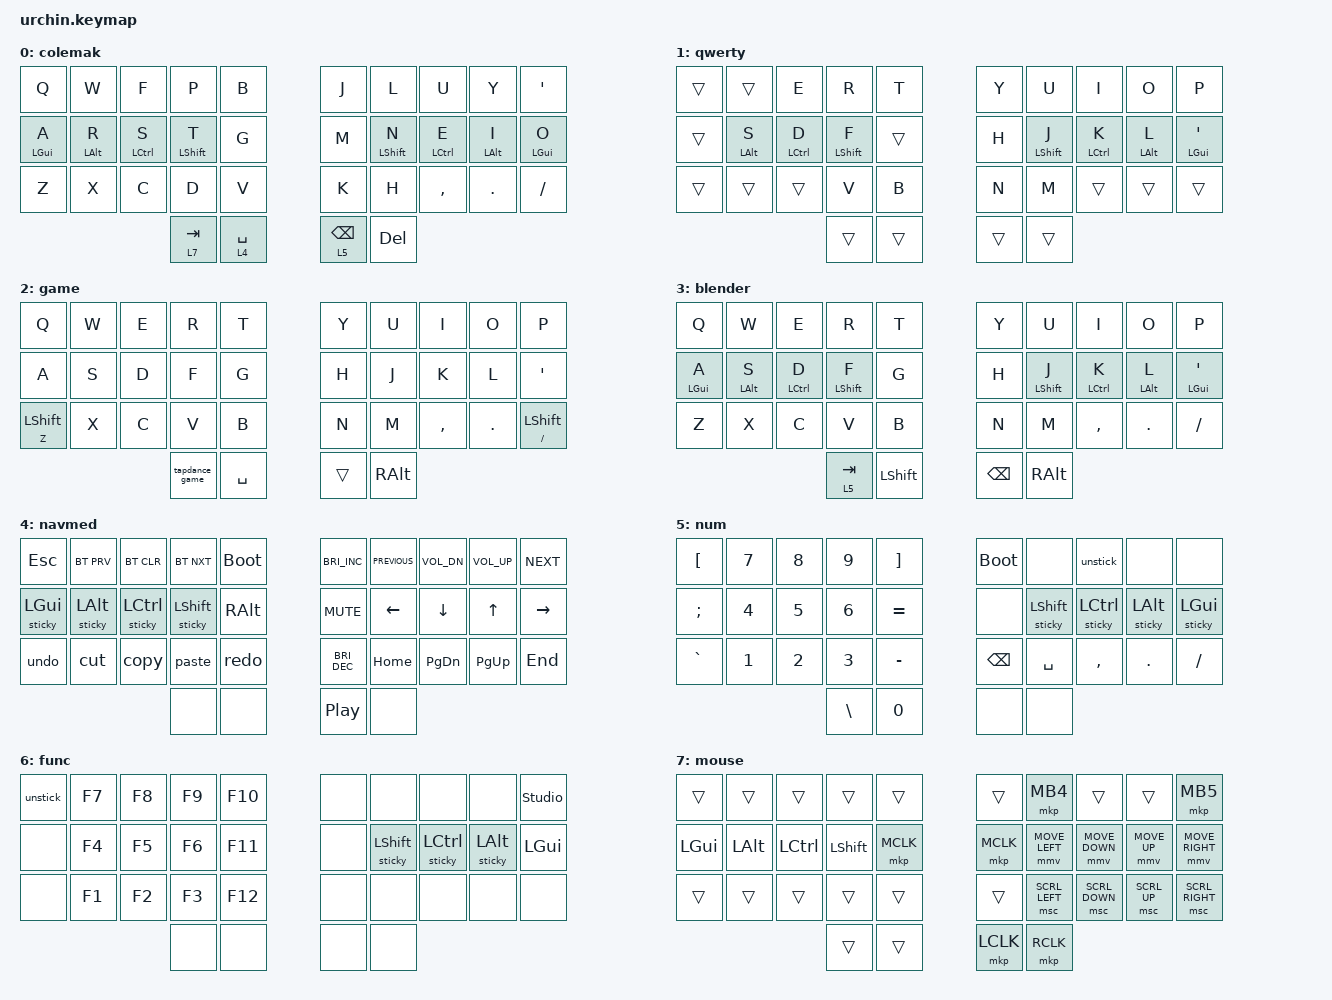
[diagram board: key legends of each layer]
/*
 * Copyright (c) 2020 duckyb
 *
 * SPDX-License-Identifier: MIT
 */

#include <behaviors.dtsi>
#include <dt-bindings/zmk/bt.h>
#include <dt-bindings/zmk/keys.h>
#include <dt-bindings/zmk/pointing.h>
#include "keymap_italian.h"

// Layer definitions

#define BASE 0
#define SYM 1
#define EXT 2
#define FNC 3
#define SYM2 4
#define ACCENT 5
#define SETTINGS 6

// -----------------

&sk {
    // don't release mods on other mods presses

    ignore-modifiers;
};

&sl { ignore-modifiers; };

/ {
    behaviors {
        // Enables holding the first mod-tap key
        // by performing a tap-release-hold sequence.
        // To use it: "&qt KEYCODE1 KEYCODE2"

        qt: quick_tap {
            compatible = "zmk,behavior-hold-tap";
            label = "QUICK_TAP";
            #binding-cells = <2>;
            flavor = "hold-preferred";
            tapping-term-ms = <200>;
            quick-tap-ms = <200>;
            bindings = <&kp>, <&kp>;
        };

        ko: ko {
            compatible = "zmk,behavior-tap-dance";
            label = "KO";
            #binding-cells = <0>;
            bindings = <&ko_win>, <&ko_mac>;
        };

        en: en {
            compatible = "zmk,behavior-tap-dance";
            label = "EN";
            #binding-cells = <0>;
            bindings = <&en_win>, <&en_mac>;
        };

        wincap: wincap {
            compatible = "zmk,behavior-tap-dance";
            label = "WINCAP";
            #binding-cells = <0>;
            bindings = <&kp LG(LS(S))>, <&kp LA(LS(LC(S)))>;
        };

        tapdance_game: tapdance_game {
            compatible = "zmk,behavior-tap-dance";
            label = "TAPDANCE_GAME";
            #binding-cells = <0>;
            bindings = <&kp LCTRL>, <&kp LEFT_ALT>;
        };
    };

    hrmLeft: hrmLeft {
        compatible = "zmk,behavior-hold-tap";
        label = "HRMLEFT";
        bindings = <&kp>, <&kp>;

        #binding-cells = <2>;
        tapping-term-ms = <250>;
        flavor = "balanced";
        quick-tap-ms = <175>;
        hold-trigger-on-release;
        hold-trigger-key-positions = <34 35 36 37 38 46 47 48 49 50 51 60 61 62 63 59 5 9 5 6 7 15 16 17 25 26 27 8 9 18 19 28 29 32 33>;
        require-prior-idle-ms = <100>;
    };

    hrmRight: hrmRight {
        compatible = "zmk,behavior-hold-tap";
        label = "HRMRIGHT";
        bindings = <&kp>, <&kp>;

        #binding-cells = <2>;
        tapping-term-ms = <250>;
        flavor = "balanced";
        quick-tap-ms = <175>;
        hold-trigger-on-release;
        hold-trigger-key-positions = <0 1 2 3 4 10 11 12 13 14 20 21 22 23 24 30 31>;
        require-prior-idle-ms = <100>;
    };

    sticky: sticky {
        compatible = "zmk,behavior-sticky-key";
        label = "STICKY";
        bindings = <&kp>;
        #binding-cells = <1>;
        release-after-ms = <2000>;
        quick-release;
    };

    undo: undo {
        compatible = "zmk,behavior-tap-dance";
        label = "UNDO";
        #binding-cells = <0>;
        bindings = <&kp LC(Z)>, <&kp LG(Z)>;

        tapping-term-ms = <300>;
    };

    cut: cut {
        compatible = "zmk,behavior-tap-dance";
        label = "cut";
        #binding-cells = <0>;
        bindings = <&kp LC(X)>, <&kp LG(X)>;

        tapping-term-ms = <300>;
    };

    copy: copy {
        compatible = "zmk,behavior-tap-dance";
        label = "copy";
        #binding-cells = <0>;
        bindings = <&kp LC(C)>, <&kp LG(C)>;

        tapping-term-ms = <300>;
    };

    paste: paste {
        compatible = "zmk,behavior-tap-dance";
        label = "paste";
        #binding-cells = <0>;
        bindings = <&kp LC(V)>, <&kp LG(V)>;

        tapping-term-ms = <300>;
    };

    redo: redo {
        compatible = "zmk,behavior-tap-dance";
        label = "redo";
        #binding-cells = <0>;
        bindings = <&kp LS(LC(Z))>, <&kp LS(LG(Z))>;

        tapping-term-ms = <300>;
    };

    customlt: customlt {
        compatible = "zmk,behavior-hold-tap";
        label = "CUSTOMLT";
        bindings = <&mo>, <&kp>;

        #binding-cells = <2>;
        tapping-term-ms = <200>;
        flavor = "tap-preferred";
        quick-tap-ms = <200>;
        require-prior-idle-ms = <100>;
    };

    macros {
        // sometimes my device thinks a modifier is being held down
        // pressing all modifiers fixes it.

        unstick: unstick {
            label = "ZM_unstick";
            compatible = "zmk,behavior-macro";
            #binding-cells = <0>;
            bindings = <&kp LSHIFT &kp RSHIFT &kp LCTRL &kp RCTRL &kp LALT &kp RALT &kp LGUI &kp RGUI>;
        };

        paren: paren {
            compatible = "zmk,behavior-macro";
            #binding-cells = <0>;
            bindings =
                <&macro_press>,
                <&kp LEFT_SHIFT>,
                <&macro_tap>,
                <&kp N9 &kp N0>,
                <&macro_release>,
                <&kp LEFT_SHIFT>,
                <&macro_tap>,
                <&kp LEFT>;

            label = "PAREN";
        };

        bracket: bracket {
            compatible = "zmk,behavior-macro";
            #binding-cells = <0>;
            bindings = <&kp LEFT_BRACKET &kp RIGHT_BRACKET &kp LEFT_ARROW>;
            label = "BRACKET";
        };

        ko_win: ko_win {
            compatible = "zmk,behavior-macro";
            #binding-cells = <0>;
            bindings = <&to 1 &kp RIGHT_ALT>;
            label = "KO_WIN";
        };

        en_win: en_win {
            compatible = "zmk,behavior-macro";
            #binding-cells = <0>;
            bindings = <&to 0 &kp RIGHT_ALT>;
            label = "en_win";
        };

        ko_mac: ko_mac {
            compatible = "zmk,behavior-macro";
            #binding-cells = <0>;
            bindings =
                <&to 1>,
                <&macro_press>,
                <&kp LEFT_CONTROL &kp LEFT_ALT>,
                <&macro_tap>,
                <&kp SPACE>,
                <&macro_release>,
                <&kp LEFT_CONTROL &kp LEFT_ALT>;

            label = "KO_MAC";
        };

        en_mac: en_mac {
            compatible = "zmk,behavior-macro";
            #binding-cells = <0>;
            bindings =
                <&to 0>,
                <&macro_press>,
                <&kp LEFT_CONTROL &kp LEFT_ALT>,
                <&macro_tap>,
                <&kp SPACE>,
                <&macro_release>,
                <&kp LCTRL &kp LALT>;

            label = "EN_MAC";
        };

        braces: braces {
            compatible = "zmk,behavior-macro";
            #binding-cells = <0>;
            bindings =
                <&macro_press>,
                <&kp LEFT_SHIFT>,
                <&macro_tap>,
                <&kp LEFT_BRACKET &kp RIGHT_BRACKET>,
                <&macro_release>,
                <&kp LEFT_SHIFT>,
                <&macro_tap>,
                <&kp LEFT>;

            label = "BRACES";
        };

        test: test {
            compatible = "zmk,behavior-macro";
            #binding-cells = <0>;
            bindings = <&to 0 &kp RIGHT_ALT>;
            label = "TEST";
        };
    };

    combos {
        compatible = "zmk,combos";

        escape {
            bindings = <&kp ESCAPE>;
            key-positions = <1 2>;
            layers = <0 1 3>;
            timeout-ms = <75>;
        };

        enter {
            bindings = <&kp RETURN>;
            key-positions = <7 8>;
            timeout-ms = <75>;
        };

        paren {
            bindings = <&paren>;
            key-positions = <3 6>;
            timeout-ms = <75>;
            require-prior-idle-ms = <200>;
        };

        brackets {
            bindings = <&bracket>;
            key-positions = <2 7>;
            timeout-ms = <75>;
            require-prior-idle-ms = <200>;
        };

        braces {
            bindings = <&braces>;
            key-positions = <1 8>;
            timeout-ms = <75>;
            require-prior-idle-ms = <200>;
        };

        del {
            bindings = <&kp DELETE>;
            key-positions = <0 1>;
            timeout-ms = <75>;
            require-prior-idle-ms = <200>;
        };

        caps {
            bindings = <&kp CAPS>;
            key-positions = <14 15>;
        };

        game_tab {
            bindings = <&kp TAB>;
            key-positions = <3 2>;
            layers = <2>;
        };

        game_1 {
            bindings = <&kp NUMBER_1>;
            key-positions = <3 31>;
        };

        game_2 {
            bindings = <&kp NUMBER_2>;
            key-positions = <13 31>;
        };

        game_3 {
            bindings = <&kp NUMBER_3>;
            key-positions = <23 31>;
        };

        game_4 {
            bindings = <&kp NUMBER_4>;
            key-positions = <4 31>;
        };

        game_5 {
            bindings = <&kp N5>;
            key-positions = <31 14>;
        };

        game_6 {
            bindings = <&kp NUMBER_6>;
            key-positions = <31 24>;
        };

        func_oneshot {
            bindings = <&sl 6>;
            key-positions = <30 31>;
        };

        func_mo {
            bindings = <&mo 6>;
            key-positions = <30 33>;
            slow-release;
        };

        num_tog {
            bindings = <&tog 5>;
            key-positions = <31 32>;
        };

        ko {
            bindings = <&ko>;
            key-positions = <27 28>;
        };

        en {
            bindings = <&en>;
            key-positions = <21 22>;
        };

        wsleft {
            bindings = <&kp LA(LC(H))>;
            key-positions = <13 14>;
        };

        wsright {
            bindings = <&kp LA(LC(L))>;
            key-positions = <15 16>;
        };

        wsbnf {
            bindings = <&kp LA(S)>;
            key-positions = <20 31>;
        };

        game {
            bindings = <&tog 2>;
            key-positions = <29 28>;
        };

        mousetog {
            bindings = <&tog 7>;
            key-positions = <32 33>;
        };

        game_esc {
            bindings = <&kp ESCAPE>;
            key-positions = <4 3>;
            layers = <2>;
        };

        wincap {
            bindings = <&wincap>;
            key-positions = <6 7>;
        };

        blend {
            bindings = <&tog 3>;
            key-positions = <20 21>;
        };

        togglenav {
            bindings = <&tog 4>;
            key-positions = <29 32>;
        };
    };

    keymap {
        compatible = "zmk,keymap";

        // Base alpha layer

        default_layer {
            label = "colemak";
            bindings = <
&kp Q            &kp W            &kp F             &kp P              &kp B              &kp J                  &kp L                   &kp U              &kp Y             &kp APOS
&hrmLeft LGUI A  &hrmLeft LALT R  &hrmLeft LCTRL S  &hrmLeft LSHIFT T  &kp G              &kp M                  &hrmRight LEFT_SHIFT N  &hrmRight LCTRL E  &hrmRight LALT I  &hrmRight LGUI O
&kp Z            &kp X            &kp C             &kp D              &kp V              &kp K                  &kp H                   &kp COMMA          &kp DOT           &kp SLASH
                                                    &customlt 7 TAB    &customlt 4 SPACE  &customlt 5 BACKSPACE  &kp DELETE
            >;
        };

        qwerty {
            bindings = <
&trans  &trans           &kp E             &kp R              &kp T   &kp Y   &kp U               &kp I              &kp O             &kp P
&trans  &hrmLeft LALT S  &hrmLeft LCTRL D  &hrmLeft LSHIFT F  &trans  &kp H   &hrmRight LSHIFT J  &hrmRight LCTRL K  &hrmRight LALT L  &hrmRight LGUI APOS
&trans  &trans           &trans            &kp V              &kp B   &kp N   &kp M               &trans             &trans            &trans
                                           &trans             &trans  &trans  &trans
            >;

            label = "qwerty";
        };

        game {
            bindings = <
&kp Q             &kp W  &kp E  &kp R           &kp T      &kp Y   &kp U          &kp I      &kp O    &kp P
&kp A             &kp S  &kp D  &kp F           &kp G      &kp H   &kp J          &kp K      &kp L    &kp APOS
&mt Z LEFT_SHIFT  &kp X  &kp C  &kp V           &kp B      &kp N   &kp M          &kp COMMA  &kp DOT  &mt SLASH LEFT_SHIFT
                                &tapdance_game  &kp SPACE  &trans  &kp RIGHT_ALT
            >;

            label = "game";
        };

        blender {
            label = "blender";
            bindings = <
&kp Q            &kp W                 &kp E             &kp R              &kp T           &kp Y          &kp U                   &kp I              &kp O                 &kp P
&hrmLeft LGUI A  &hrmRight LEFT_ALT S  &hrmLeft LCTRL D  &hrmLeft LSHIFT F  &kp G           &kp H          &hrmRight LEFT_SHIFT J  &hrmRight LCTRL K  &hrmRight LEFT_ALT L  &hrmRight LGUI APOS
&kp Z            &kp X                 &kp C             &kp V              &kp B           &kp N          &kp M                   &kp COMMA          &kp DOT               &kp SLASH
                                                         &lt 5 TAB          &kp LEFT_SHIFT  &kp BACKSPACE  &kp RIGHT_ALT
            >;
        };

        navmed {
            bindings = <
&kp ESCAPE    &bt BT_PRV    &bt BT_CLR     &bt BT_NXT     &bootloader    &kp C_BRIGHTNESS_INC  &kp C_PREVIOUS  &kp C_VOL_DN   &kp C_VOLUME_UP  &kp C_NEXT
&sticky LGUI  &sticky LALT  &sticky LCTRL  &sticky LSHFT  &kp RIGHT_ALT  &kp C_MUTE            &kp LEFT        &kp DOWN       &kp UP           &kp RIGHT
&undo         &cut          &copy          &paste         &redo          &kp C_BRIGHTNESS_DEC  &kp HOME        &kp PAGE_DOWN  &kp PG_UP        &kp END
                                           &none          &none          &kp C_PLAY_PAUSE      &none
            >;

            label = "navmed";
        };

        num {
            bindings = <
&kp LBKT   &kp N7  &kp N8  &kp N9         &kp RBKT   &bootloader  &none          &unstick       &none         &none
&kp SEMI   &kp N4  &kp N5  &kp N6         &kp EQUAL  &none        &sticky LSHFT  &sticky LCTRL  &sticky LALT  &sticky LGUI
&kp GRAVE  &kp N1  &kp N2  &kp N3         &kp MINUS  &kp BSPC     &kp SPACE      &kp COMMA      &kp DOT       &kp FSLH
                           &kp BACKSLASH  &kp N0     &none        &none
            >;

            label = "num";
        };

        func {
            bindings = <
&unstick  &kp F7  &kp F8  &kp F9  &kp F10  &none  &none          &none          &none         &studio_unlock
&none     &kp F4  &kp F5  &kp F6  &kp F11  &none  &sticky LSHFT  &sticky LCTRL  &sticky LALT  &kp LGUI
&none     &kp F1  &kp F2  &kp F3  &kp F12  &none  &none          &none          &none         &none
                          &none   &none    &none  &none
            >;

            label = "func";
        };

        mouse {
            bindings = <
&trans    &trans    &trans     &trans     &trans     &trans     &mkp MB4        &trans          &trans        &mkp MB5
&kp LGUI  &kp LALT  &kp LCTRL  &kp LSHFT  &mkp MCLK  &mkp MCLK  &mmv MOVE_LEFT  &mmv MOVE_DOWN  &mmv MOVE_UP  &mmv MOVE_RIGHT
&trans    &trans    &trans     &trans     &trans     &trans     &msc SCRL_LEFT  &msc SCRL_DOWN  &msc SCRL_UP  &msc SCRL_RIGHT
                               &trans     &trans     &mkp LCLK  &mkp RCLK
            >;

            label = "mouse";
        };
    };
};
